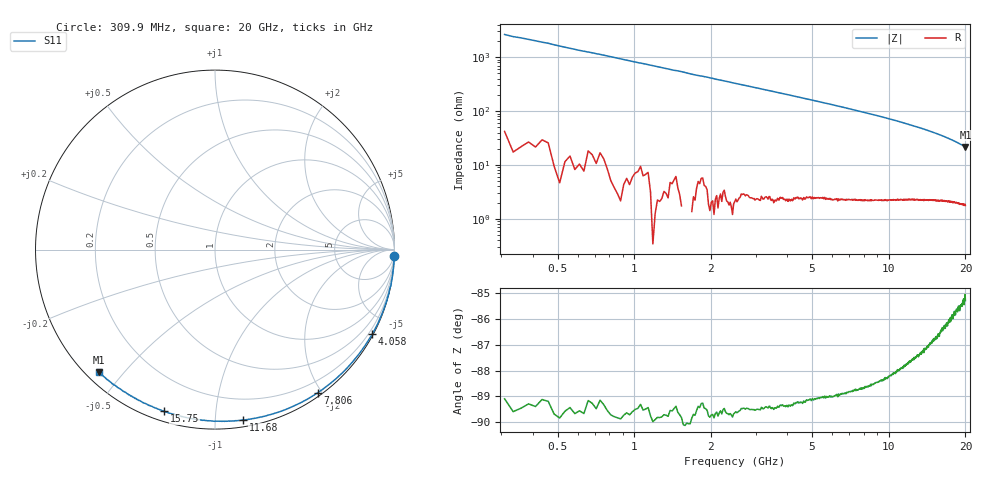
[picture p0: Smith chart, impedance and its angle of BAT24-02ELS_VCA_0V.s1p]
! Infineon Technologies  Discrete & RF Semiconductors
! BAT24-02ELS
! VCA = 0 V
! One-Port S-Parameters
# Hz  S  MA  R  50
!f  S11
!Hz  Mag  Ang
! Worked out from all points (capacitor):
!   789 points, 309.9 MHz to 20 GHz, reference 50 ohm
!   read as one part to ground: C = 193 fF near 384.8 MHz
!   lowest |Z| = 21.5 ohm at 20 GHz (marker M1)
!   S11 on the Smith chart (normalised r, x): 309.9 MHz: 1, -53; 4.058 GHz: 0.05, -3.98; 7.806 GHz: 0.05, -1.95; 11.68 GHz: 0.05, -1.18; 15.75 GHz: 0.04, -0.73; 20 GHz: 0.04, -0.43
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3.0985e8  0.9994 -2.2
3.848125e8  0.9994 -2.7
8.845625e8  0.9998 -6.2
1.584212e9  1 -11.0
2.383812e9  0.9983 -16.6
2.783612e9  0.9969 -19.3
3.50825e9  0.996 -24.3
4.057975e9  0.9945 -28.2
5.232388e9  0.9906 -36.4
6.031988e9  0.9885 -41.9
6.6067e9  0.986 -45.9
7.70615e9  0.9817 -53.6
7.8061e9  0.9813 -54.3
8.955525e9  0.9764 -62.2
9.430288e9  0.9742 -65.4
1.015492e10  0.9706 -70.4
1.092954e10  0.9663 -75.6
1.167916e10  0.9624 -80.7
1.262869e10  0.9572 -87.0
1.315342e10  0.956 -90.5
1.377811e10  0.9516 -94.7
1.437781e10  0.9496 -98.5
1.507746e10  0.947 -103.0
1.575212e10  0.9447 -107.4
1.672664e10  0.9412 -113.3
1.755122e10  0.9399 -118.5
1.892554e10  0.9402 -127.1
2e10  0.9421 -133.5
